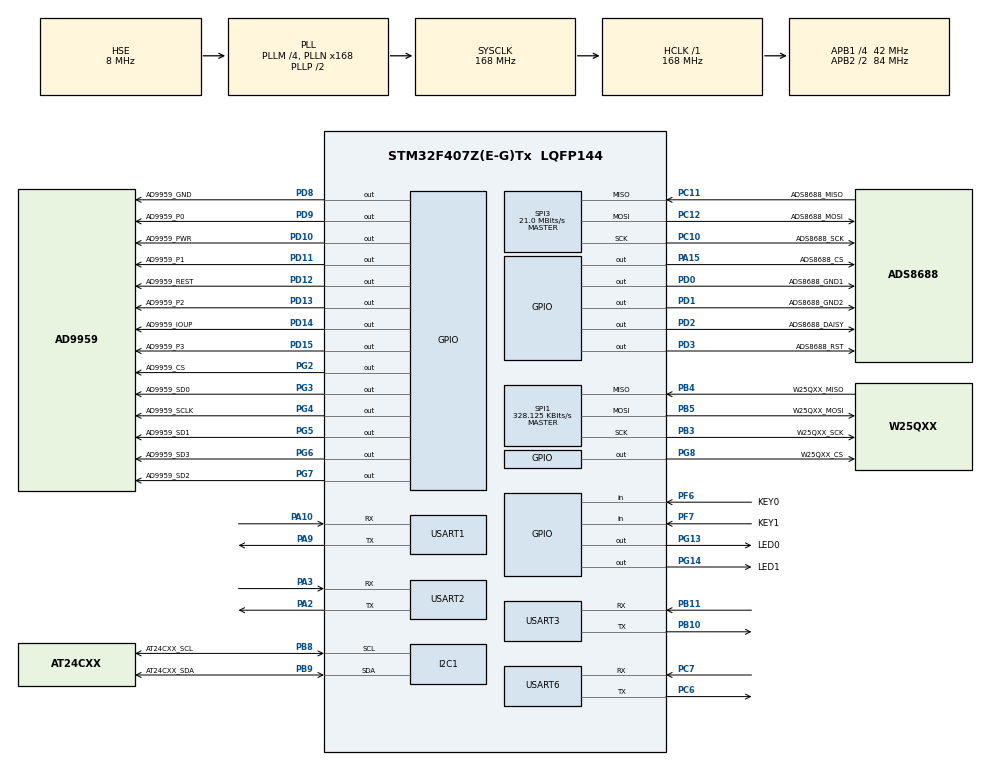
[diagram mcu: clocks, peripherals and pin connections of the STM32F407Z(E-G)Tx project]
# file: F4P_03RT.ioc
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Dma.Request0=SPI3_RX
Dma.Request1=SPI3_TX
Dma.Request2=USART6_TX
Dma.Request3=USART1_RX
Dma.Request4=USART1_TX
Dma.SPI3_RX.0.Direction=DMA_PERIPH_TO_MEMORY
Dma.SPI3_RX.0.FIFOMode=DMA_FIFOMODE_DISABLE
Dma.SPI3_RX.0.Instance=DMA1_Stream0
Dma.SPI3_RX.0.MemDataAlignment=DMA_MDATAALIGN_HALFWORD
Dma.SPI3_RX.0.MemInc=DMA_MINC_ENABLE
Dma.SPI3_RX.0.Mode=DMA_NORMAL
Dma.SPI3_RX.0.PeriphDataAlignment=DMA_PDATAALIGN_HALFWORD
Dma.SPI3_RX.0.PeriphInc=DMA_PINC_DISABLE
Dma.SPI3_RX.0.Priority=DMA_PRIORITY_VERY_HIGH
Dma.SPI3_TX.1.Direction=DMA_MEMORY_TO_PERIPH
Dma.SPI3_TX.1.FIFOMode=DMA_FIFOMODE_DISABLE
Dma.SPI3_TX.1.Instance=DMA1_Stream5
Dma.SPI3_TX.1.MemDataAlignment=DMA_MDATAALIGN_HALFWORD
Dma.SPI3_TX.1.MemInc=DMA_MINC_ENABLE
Dma.SPI3_TX.1.Mode=DMA_NORMAL
Dma.SPI3_TX.1.PeriphDataAlignment=DMA_PDATAALIGN_HALFWORD
Dma.SPI3_TX.1.PeriphInc=DMA_PINC_DISABLE
Dma.SPI3_TX.1.Priority=DMA_PRIORITY_VERY_HIGH
Dma.USART1_RX.3.Direction=DMA_PERIPH_TO_MEMORY
Dma.USART1_RX.3.FIFOMode=DMA_FIFOMODE_DISABLE
Dma.USART1_RX.3.Instance=DMA2_Stream2
Dma.USART1_RX.3.MemDataAlignment=DMA_MDATAALIGN_BYTE
Dma.USART1_RX.3.MemInc=DMA_MINC_ENABLE
Dma.USART1_RX.3.Mode=DMA_NORMAL
Dma.USART1_RX.3.PeriphDataAlignment=DMA_PDATAALIGN_BYTE
Dma.USART1_RX.3.PeriphInc=DMA_PINC_DISABLE
Dma.USART1_RX.3.Priority=DMA_PRIORITY_LOW
Dma.USART1_TX.4.Direction=DMA_MEMORY_TO_PERIPH
Dma.USART1_TX.4.FIFOMode=DMA_FIFOMODE_DISABLE
Dma.USART1_TX.4.Instance=DMA2_Stream7
Dma.USART1_TX.4.MemDataAlignment=DMA_MDATAALIGN_BYTE
Dma.USART1_TX.4.MemInc=DMA_MINC_ENABLE
Dma.USART1_TX.4.Mode=DMA_NORMAL
Dma.USART1_TX.4.PeriphDataAlignment=DMA_PDATAALIGN_BYTE
Dma.USART1_TX.4.PeriphInc=DMA_PINC_DISABLE
Dma.USART1_TX.4.Priority=DMA_PRIORITY_LOW
Dma.USART6_TX.2.Direction=DMA_MEMORY_TO_PERIPH
Dma.USART6_TX.2.FIFOMode=DMA_FIFOMODE_DISABLE
Dma.USART6_TX.2.Instance=DMA2_Stream6
Dma.USART6_TX.2.MemDataAlignment=DMA_MDATAALIGN_BYTE
Dma.USART6_TX.2.MemInc=DMA_MINC_ENABLE
Dma.USART6_TX.2.Mode=DMA_NORMAL
Dma.USART6_TX.2.PeriphDataAlignment=DMA_PDATAALIGN_BYTE
Dma.USART6_TX.2.PeriphInc=DMA_PINC_DISABLE
Dma.USART6_TX.2.Priority=DMA_PRIORITY_LOW
Mcu.Family=STM32F4
Mcu.Name=STM32F407Z(E-G)Tx
Mcu.Package=LQFP144
NVIC.DMA1_Stream0_IRQn=true\:1\:0\:true\:false\:true\:true\:true
NVIC.DMA1_Stream5_IRQn=true\:1\:0\:true\:false\:true\:true\:true
NVIC.DMA2_Stream2_IRQn=true\:5\:0\:true\:false\:true\:false\:true
NVIC.DMA2_Stream6_IRQn=true\:5\:0\:true\:false\:true\:false\:true
NVIC.DMA2_Stream7_IRQn=true\:5\:0\:true\:false\:true\:false\:true
NVIC.PriorityGroup=NVIC_PRIORITYGROUP_4
NVIC.TIM7_IRQn=true\:15\:0\:true\:false\:true\:false\:true
NVIC.TIM8_TRG_COM_TIM14_IRQn=true\:1\:0\:true\:false\:true\:true\:true
NVIC.TimeBase=TIM7_IRQn
NVIC.TimeBaseIP=TIM7
NVIC.USART6_IRQn=true\:9\:0\:true\:false\:true\:true\:true
PA10.Mode=Asynchronous
PA10.Signal=USART1_RX
PA13.Mode=Serial_Wire
PA13.Signal=SYS_JTMS-SWDIO
PA14.Mode=Serial_Wire
PA14.Signal=SYS_JTCK-SWCLK
PA15.GPIO_Label=ADS8688_CS
PA15.GPIO_ModeDefaultOutputPP=GPIO_MODE_OUTPUT_PP
PA15.GPIO_PuPd=GPIO_PULLUP
PA15.GPIO_Speed=GPIO_SPEED_FREQ_VERY_HIGH
PA15.PinState=GPIO_PIN_SET
PA15.Signal=GPIO_Output
PA2.Mode=Asynchronous
PA2.Signal=USART2_TX
PA3.Mode=Asynchronous
PA3.Signal=USART2_RX
PA9.Mode=Asynchronous
PA9.Signal=USART1_TX
PB10.Mode=Asynchronous
PB10.Signal=USART3_TX
PB11.Mode=Asynchronous
PB11.Signal=USART3_RX
PB3.GPIO_Label=W25QXX_SCK
PB3.Mode=Full_Duplex_Master
PB3.Signal=SPI1_SCK
PB4.GPIO_Label=W25QXX_MISO
PB4.Mode=Full_Duplex_Master
PB4.Signal=SPI1_MISO
PB5.GPIO_Label=W25QXX_MOSI
PB5.Mode=Full_Duplex_Master
PB5.Signal=SPI1_MOSI
PB8.GPIO_Label=AT24CXX_SCL
PB8.Mode=I2C
PB8.Signal=I2C1_SCL
PB9.GPIO_Label=AT24CXX_SDA
PB9.Mode=I2C
PB9.Signal=I2C1_SDA
PC10.GPIO_Label=ADS8688_SCK
PC10.Mode=Full_Duplex_Master
PC10.Signal=SPI3_SCK
PC11.GPIO_Label=ADS8688_MISO
PC11.Mode=Full_Duplex_Master
PC11.Signal=SPI3_MISO
PC12.GPIO_Label=ADS8688_MOSI
PC12.Mode=Full_Duplex_Master
PC12.Signal=SPI3_MOSI
PC14-OSC32_IN.Mode=LSE-External-Oscillator
PC14-OSC32_IN.Signal=RCC_OSC32_IN
PC15-OSC32_OUT.Mode=LSE-External-Oscillator
PC15-OSC32_OUT.Signal=RCC_OSC32_OUT
PC6.Mode=Asynchronous
PC6.Signal=USART6_TX
PC7.Mode=Asynchronous
PC7.Signal=USART6_RX
PD0.GPIO_Label=ADS8688_GND1
PD0.GPIO_ModeDefaultOutputPP=GPIO_MODE_OUTPUT_PP
PD0.GPIO_PuPd=GPIO_PULLDOWN
PD0.PinState=GPIO_PIN_RESET
PD0.Signal=GPIO_Output
PD1.GPIO_Label=ADS8688_GND2
PD1.GPIO_ModeDefaultOutputPP=GPIO_MODE_OUTPUT_PP
PD1.GPIO_PuPd=GPIO_PULLDOWN
PD1.PinState=GPIO_PIN_RESET
PD1.Signal=GPIO_Output
PD10.GPIO_Label=AD9959_PWR
PD10.Signal=GPIO_Output
PD11.GPIO_Label=AD9959_P1
PD11.Signal=GPIO_Output
PD12.GPIO_Label=AD9959_REST
PD12.Signal=GPIO_Output
PD13.GPIO_Label=AD9959_P2
PD13.Signal=GPIO_Output
PD14.GPIO_Label=AD9959_IOUP
PD14.Signal=GPIO_Output
PD15.GPIO_Label=AD9959_P3
PD15.Signal=GPIO_Output
PD2.GPIO_Label=ADS8688_DAISY
PD2.GPIO_ModeDefaultOutputPP=GPIO_MODE_OUTPUT_PP
PD2.GPIO_PuPd=GPIO_PULLUP
PD2.GPIO_Speed=GPIO_SPEED_FREQ_LOW
PD2.PinState=GPIO_PIN_SET
PD2.Signal=GPIO_Output
PD3.GPIO_Label=ADS8688_RST
PD3.GPIO_ModeDefaultOutputPP=GPIO_MODE_OUTPUT_PP
PD3.GPIO_PuPd=GPIO_PULLUP
PD3.GPIO_Speed=GPIO_SPEED_FREQ_LOW
PD3.PinState=GPIO_PIN_SET
PD3.Signal=GPIO_Output
PD8.GPIO_Label=AD9959_GND
PD8.Signal=GPIO_Output
PD9.GPIO_Label=AD9959_P0
PD9.Signal=GPIO_Output
PF6.GPIO_Label=KEY0
PF6.GPIO_PuPd=GPIO_PULLUP
PF6.Signal=GPIO_Input
PF7.GPIO_Label=KEY1
PF7.GPIO_PuPd=GPIO_PULLUP
PF7.Signal=GPIO_Input
PG13.GPIO_Label=LED0
PG13.GPIO_PuPd=GPIO_PULLUP
PG13.GPIO_Speed=GPIO_SPEED_FREQ_VERY_HIGH
PG13.PinState=GPIO_PIN_SET
PG13.Signal=GPIO_Output
PG14.GPIO_Label=LED1
PG14.GPIO_PuPd=GPIO_PULLUP
PG14.GPIO_Speed=GPIO_SPEED_FREQ_VERY_HIGH
PG14.PinState=GPIO_PIN_SET
PG14.Signal=GPIO_Output
PG2.GPIO_Label=AD9959_CS
PG2.Signal=GPIO_Output
PG3.GPIO_Label=AD9959_SD0
PG3.Signal=GPIO_Output
PG4.GPIO_Label=AD9959_SCLK
PG4.Signal=GPIO_Output
PG5.GPIO_Label=AD9959_SD1
PG5.Signal=GPIO_Output
PG6.GPIO_Label=AD9959_SD3
PG6.Signal=GPIO_Output
PG7.GPIO_Label=AD9959_SD2
PG7.Signal=GPIO_Output
PG8.GPIO_Label=W25QXX_CS
PG8.GPIO_PuPd=GPIO_PULLUP
PG8.GPIO_Speed=GPIO_SPEED_FREQ_VERY_HIGH
PG8.PinState=GPIO_PIN_SET
PG8.Signal=GPIO_Output
PH0-OSC_IN.Mode=HSE-External-Oscillator
PH0-OSC_IN.Signal=RCC_OSC_IN
PH1-OSC_OUT.Mode=HSE-External-Oscillator
PH1-OSC_OUT.Signal=RCC_OSC_OUT
ProjectManager.HeapSize=0x200
ProjectManager.StackSize=0x400
ProjectManager.TargetToolchain=STM32CubeIDE
RCC.48MHZClocksFreq_Value=84000000
RCC.AHBFreq_Value=168000000
RCC.APB1CLKDivider=RCC_HCLK_DIV4
RCC.APB1Freq_Value=42000000
RCC.APB1TimFreq_Value=84000000
RCC.APB2CLKDivider=RCC_HCLK_DIV2
RCC.APB2Freq_Value=84000000
RCC.APB2TimFreq_Value=168000000
RCC.CortexFreq_Value=168000000
RCC.HCLKFreq_Value=168000000
RCC.HSE_VALUE=8000000
RCC.HSI_VALUE=16000000
RCC.PLLM=4
RCC.PLLN=168
RCC.PLLSourceVirtual=RCC_PLLSOURCE_HSE
RCC.SYSCLKFreq_VALUE=168000000
RCC.SYSCLKSource=RCC_SYSCLKSOURCE_PLLCLK
RCC.VCOOutputFreq_Value=336000000
SPI1.BaudRatePrescaler=SPI_BAUDRATEPRESCALER_256
SPI1.CLKPhase=SPI_PHASE_2EDGE
SPI1.CLKPolarity=SPI_POLARITY_HIGH
SPI1.CalculateBaudRate=328.125 KBits/s
SPI1.Direction=SPI_DIRECTION_2LINES
SPI1.Mode=SPI_MODE_MASTER
SPI1.VirtualType=VM_MASTER
SPI3.BaudRatePrescaler=SPI_BAUDRATEPRESCALER_2
SPI3.CLKPhase=SPI_PHASE_2EDGE
SPI3.CalculateBaudRate=21.0 MBits/s
SPI3.DataSize=SPI_DATASIZE_16BIT
SPI3.Direction=SPI_DIRECTION_2LINES
SPI3.Mode=SPI_MODE_MASTER
SPI3.VirtualType=VM_MASTER
TIM14.Period=50-1
TIM14.Prescaler=35-1
USART1.VirtualMode=VM_ASYNC
USART2.VirtualMode=VM_ASYNC
USART3.VirtualMode=VM_ASYNC
USART6.VirtualMode=VM_ASYNC
VP_SYS_VS_tim7.Mode=TIM7
VP_TIM14_VS_ClockSourceINT.Mode=Enable_Timer
board=custom

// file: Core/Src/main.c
/* USER CODE BEGIN Header */
/**
  ******************************************************************************
  * @file           : main.c
  * @brief          : Main program body
  ******************************************************************************
  * @attention
  *
  * <h2><center>&copy; Copyright (c) 2021 STMicroelectronics.
  * All rights reserved.</center></h2>
  *
  * This software component is licensed by ST under BSD 3-Clause license,
  * the "License"; You may not use this file except in compliance with the
  * License. You may obtain a copy of the License at:
  *                        opensource.org/licenses/BSD-3-Clause
  *
  ******************************************************************************
  */
/* USER CODE END Header */
#include "main.h"
#include "dma.h"
#include "i2c.h"
#include "spi.h"
#include "tim.h"
#include "usart.h"
#include "gpio.h"

/* USER CODE BEGIN Includes */
#include "AT24CXX.h"
#include "W25QXX.h"
#include "esp8266.h"
#include "ADS8688.h"
/* USER CODE END Includes */

void SystemClock_Config(void);

int main(void)
{

  /* MCU Configuration--------------------------------------------------------*/

  /* Reset of all peripherals, Initializes the Flash interface and the Systick. */

	HAL_Init();

  /* Configure the system clock */
  SystemClock_Config();

  /* Initialize all configured peripherals */
  MX_GPIO_Init();
  MX_I2C1_Init();
  MX_SPI1_Init();
  MX_USART1_UART_Init();
  MX_USART3_UART_Init();
  MX_DMA_Init();
  MX_SPI3_Init();
  MX_USART6_UART_Init();
  MX_USART2_UART_Init();
  MX_TIM14_Init();
  /* USER CODE BEGIN 2 */
  delay_init(168);	//delay 函数初始化
  W25QXX_Init();		//W25QXX 初始化
  DATA_INIT();			//可储存变量初始化

  //ESP8266_Init();
  extern void RT_Thread_Data_Init(void);
  extern void RT_Thread_Threads_Init(void);
  RT_Thread_Data_Init();
  RT_Thread_Threads_Init();
  /* USER CODE END 2 */

  /* Infinite loop */
  /* USER CODE BEGIN WHILE */
  while (1)
  {
    rt_kprintf("\rDevice initialization completed\n");
    break;
    /* USER CODE END WHILE */

  }
}

void SystemClock_Config(void)
{
  RCC_OscInitTypeDef RCC_OscInitStruct = {0};
  RCC_ClkInitTypeDef RCC_ClkInitStruct = {0};

  /** Configure the main internal regulator output voltage
  */
  __HAL_RCC_PWR_CLK_ENABLE();
  __HAL_PWR_VOLTAGESCALING_CONFIG(PWR_REGULATOR_VOLTAGE_SCALE1);
  /** Initializes the RCC Oscillators according to the specified parameters
  * in the RCC_OscInitTypeDef structure.
  */
  RCC_OscInitStruct.OscillatorType = RCC_OSCILLATORTYPE_HSE;
  RCC_OscInitStruct.HSEState = RCC_HSE_ON;
  RCC_OscInitStruct.PLL.PLLState = RCC_PLL_ON;
  RCC_OscInitStruct.PLL.PLLSource = RCC_PLLSOURCE_HSE;
  RCC_OscInitStruct.PLL.PLLM = 4;
  RCC_OscInitStruct.PLL.PLLN = 168;
  RCC_OscInitStruct.PLL.PLLP = RCC_PLLP_DIV2;
  RCC_OscInitStruct.PLL.PLLQ = 4;
  if (HAL_RCC_OscConfig(&RCC_OscInitStruct) != HAL_OK)
  {
    Error_Handler();
  }
  /** Initializes the CPU, AHB and APB buses clocks
  */
  RCC_ClkInitStruct.ClockType = RCC_CLOCKTYPE_HCLK|RCC_CLOCKTYPE_SYSCLK
                              |RCC_CLOCKTYPE_PCLK1|RCC_CLOCKTYPE_PCLK2;
  RCC_ClkInitStruct.SYSCLKSource = RCC_SYSCLKSOURCE_PLLCLK;
  RCC_ClkInitStruct.AHBCLKDivider = RCC_SYSCLK_DIV1;
  RCC_ClkInitStruct.APB1CLKDivider = RCC_HCLK_DIV4;
  RCC_ClkInitStruct.APB2CLKDivider = RCC_HCLK_DIV2;

  if (HAL_RCC_ClockConfig(&RCC_ClkInitStruct, FLASH_LATENCY_5) != HAL_OK)
  {
    Error_Handler();
  }
}

/* USER CODE BEGIN 4 */

#ifdef USE_THIS
/* USER CODE END 4 */

void HAL_TIM_PeriodElapsedCallback(TIM_HandleTypeDef *htim)
{
  if (htim->Instance == TIM7) {
    HAL_IncTick();
  }
  /* USER CODE BEGIN Callback 1 */
#endif
__weak void meanless(void){
  /* USER CODE END Callback 1 */
}

void Error_Handler(void)
{
  __disable_irq();
  while (1)
  {
  }
}

/************************ (C) COPYRIGHT STMicroelectronics *****END OF FILE****/
